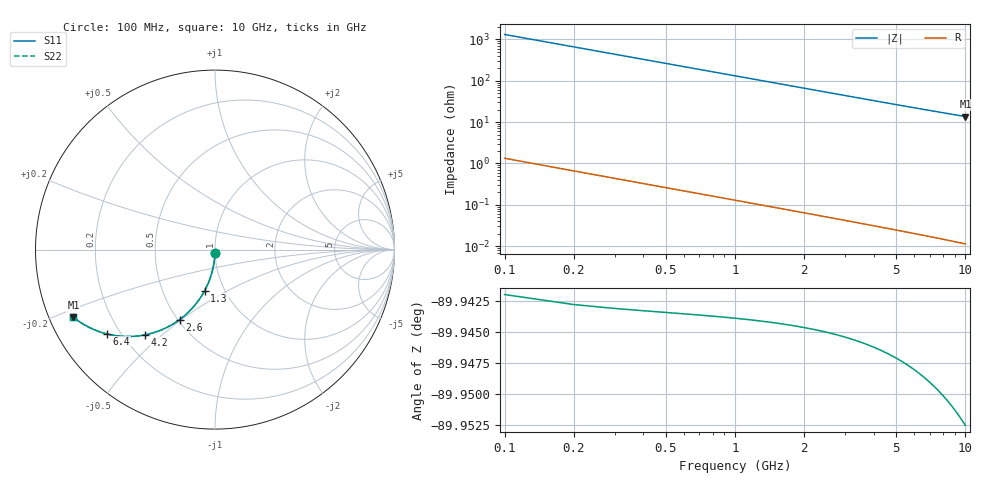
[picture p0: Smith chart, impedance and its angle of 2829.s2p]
# Hz S RI R 50.00
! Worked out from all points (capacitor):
!   100 points, 100 MHz to 10 GHz, reference 50 ohm
!   read as one part in shunt: C = 1.21 pF near 100 MHz
!   lowest |Z| = 13.6 ohm at 10 GHz (marker M1)
!   S11 on the Smith chart (normalised r, x): 100 MHz: 1.00, -0.04; 1.3 GHz: 0.81, -0.39; 2.6 GHz: 0.51, -0.49; 4.2 GHz: 0.29, -0.44; 6.4 GHz: 0.15, -0.34; 10 GHz: 0.07, -0.23
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1e8  -0.000298 -0.0187  0.9995 -0.0193  0.9995 -0.0193  -0.000298 -0.0187
2e8  -0.0014 -0.0373  0.9984 -0.0385  0.9984 -0.0385  -0.0014 -0.0373
3e8  -0.00321 -0.0559  0.9966 -0.0576  0.9966 -0.0576  -0.00321 -0.0559
4e8  -0.00573 -0.0744  0.9941 -0.0767  0.9941 -0.0767  -0.00573 -0.0744
5e8  -0.00894 -0.0926  0.9909 -0.0955  0.9909 -0.0955  -0.00894 -0.0926
6e8  -0.0128 -0.1107  0.987 -0.1142  0.987 -0.1142  -0.0128 -0.1107
7e8  -0.0174 -0.1286  0.9824 -0.1326  0.9824 -0.1326  -0.0174 -0.1286
8e8  -0.0226 -0.1462  0.9772 -0.1508  0.9772 -0.1508  -0.0226 -0.1462
1e9  -0.0349 -0.1804  0.9649 -0.1862  0.9649 -0.1862  -0.0349 -0.1804
1.3e9  -0.0576 -0.2289  0.9422 -0.2364  0.9422 -0.2364  -0.0576 -0.2289
1.5e9  -0.0752 -0.2591  0.9245 -0.2678  0.9245 -0.2678  -0.0752 -0.2591
1.8e9  -0.1049 -0.3009  0.8949 -0.3113  0.8949 -0.3113  -0.1049 -0.3009
2.2e9  -0.149 -0.3494  0.8507 -0.3621  0.8507 -0.3621  -0.149 -0.3494
2.6e9  -0.1966 -0.3895  0.8031 -0.4046  0.8031 -0.4046  -0.1966 -0.3895
3.4e9  -0.2954 -0.4459  0.7042 -0.4657  0.7042 -0.4657  -0.2954 -0.4459
4.2e9  -0.3907 -0.4752  0.6089 -0.4997  0.6089 -0.4997  -0.3907 -0.4752
5.1e9  -0.4867 -0.4844  0.5127 -0.5143  0.5127 -0.5143  -0.4867 -0.4844
6.4e9  -0.6001 -0.4704  0.399 -0.5082  0.399 -0.5082  -0.6001 -0.4704
6.7e9  -0.6222 -0.4644  0.3768 -0.504  0.3768 -0.504  -0.6222 -0.4644
7.5e9  -0.6744 -0.4455  0.3244 -0.4901  0.3244 -0.4901  -0.6744 -0.4455
8.4e9  -0.723 -0.4215  0.2755 -0.4717  0.2755 -0.4717  -0.723 -0.4215
1e10  -0.7887 -0.3768  0.2093 -0.4372  0.2093 -0.4372  -0.7887 -0.3768
